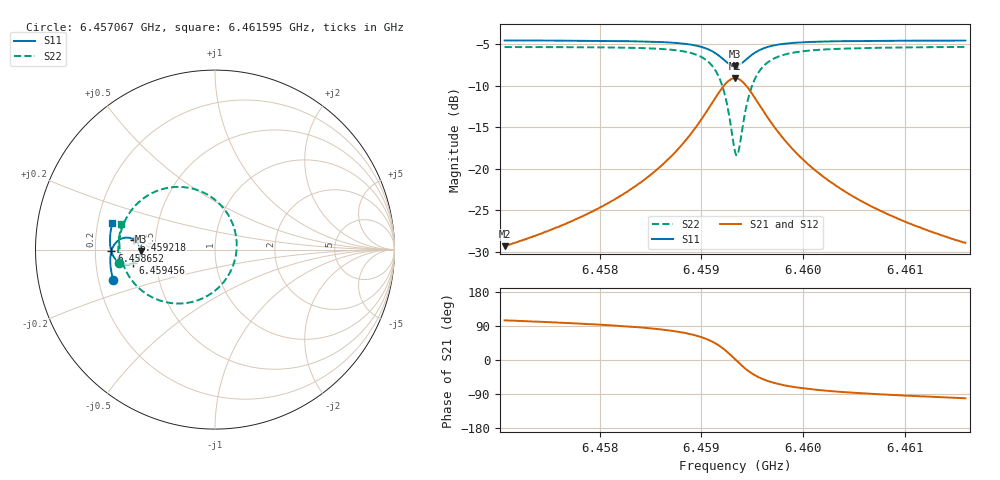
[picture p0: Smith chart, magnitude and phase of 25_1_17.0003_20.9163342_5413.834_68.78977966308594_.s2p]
#  HZ  S  RI  R  50.00
! Rohde & Schwarz Vector Network Analyzer
! Rohde-Schwarz,ZNB20-2Port,1311601062101988,3.16
! Created: UTC 3/20/2024, 10:53:09 PM
! freq[Hz]  re:S11  im:S11  re:S21  im:S21  re:S12  im:S12  re:S22  im:S22
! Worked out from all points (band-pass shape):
!   401 points, 6.457067 GHz to 6.461595 GHz, reference 50 ohm
!   highest |S21| = -9.10 dB at 6.459331 GHz (marker M1); lowest = -29.3 dB at 6.457067 GHz (marker M2)
!   |S21| within 3 dB of the highest: 6.459105 GHz to 6.459559 GHz (453.6 kHz wide, 0.00702 % of centre)
!   lowest |S11| = -7.6 dB at 6.459331 GHz (marker M3), VSWR 2.42, Z = 20.7 - j0.401 ohm
!   |S11| at or under -10 dB: nowhere
!   |S22| runs from -18.4 to -5.3 dB; largest |S21 - S12| = 0.014
!   S11 on the Smith chart (normalised r, x): 6.457067 GHz: 0.26, -0.13; 6.458652 GHz: 0.27, -0.01; 6.459218 GHz: 0.38, +0.05; 6.459456 GHz: 0.37, -0.07; 6.461595 GHz: 0.26, +0.12
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6.4570667e9  -0.5678 -0.1668  -0.00858 0.033  -0.00684 0.0331  -0.5347 -0.0763
6.4578252e9  -0.5811 -0.1  -0.00507 0.0512  -0.00256 0.0506  -0.5387 0.0136
6.4582554e9  -0.5836 -0.0567  0.00135 0.0716  0.00454 0.0702  -0.5289 0.0829
6.4585837e9  -0.5795 -0.0167  0.0153 0.1001  0.0192 0.0972  -0.5028 0.1583
6.4586517e9  -0.577 -0.00737  0.0208 0.1086  0.0249 0.1052  -0.4925 0.1784
6.4588441e9  -0.5642 0.0231  0.0476 0.1395  0.0519 0.1345  -0.4416 0.2476
6.4589913e9  -0.5411 0.0493  0.0939 0.1703  0.0968 0.1634  -0.3567 0.3117
6.4591272e9  -0.4966 0.0668  0.182 0.1864  0.1827 0.1791  -0.1957 0.3493
6.4592178e9  -0.4515 0.0562  0.273 0.1545  0.2731 0.1489  -0.0275 0.2975
6.4592857e9  -0.422 0.0237  0.3341 0.0817  0.3363 0.0766  0.0887 0.1659
6.459331e9  -0.4148 -0.00802  0.3504 0.0129  0.3543 0.00611  0.1211 0.0371
6.4593649e9  -0.4187 -0.0321  0.3448 -0.0404  0.3487 -0.0494  0.1091 -0.0637
6.4594102e9  -0.4345 -0.0587  0.3156 -0.1014  0.318 -0.1133  0.0501 -0.1787
6.4594555e9  -0.4569 -0.0756  0.2728 -0.1431  0.2721 -0.1564  -0.0369 -0.2545
6.4595461e9  -0.5012 -0.0828  0.1862 -0.1743  0.1801 -0.186  -0.209 -0.3006
6.459614e9  -0.5259 -0.0754  0.137 -0.1721  0.1291 -0.1812  -0.3039 -0.2848
6.4596933e9  -0.5458 -0.0623  0.0971 -0.1599  0.0884 -0.166  -0.379 -0.2493
6.4598518e9  -0.5676 -0.0345  0.0514 -0.131  0.0437 -0.1338  -0.46 -0.1756
6.4600895e9  -0.5806 0.00119  0.0221 -0.0988  0.0161 -0.0994  -0.5081 -0.0919
6.4604065e9  -0.5851 0.0395  0.00665 -0.0728  0.00249 -0.0724  -0.5284 -0.0165
6.4608481e9  -0.5833 0.0843  -0.00165 -0.0526  -0.00457 -0.0518  -0.5331 0.0562
6.4615953e9  -0.5714 0.1508  -0.00685 -0.0351  -0.00841 -0.0341  -0.5215 0.1454
